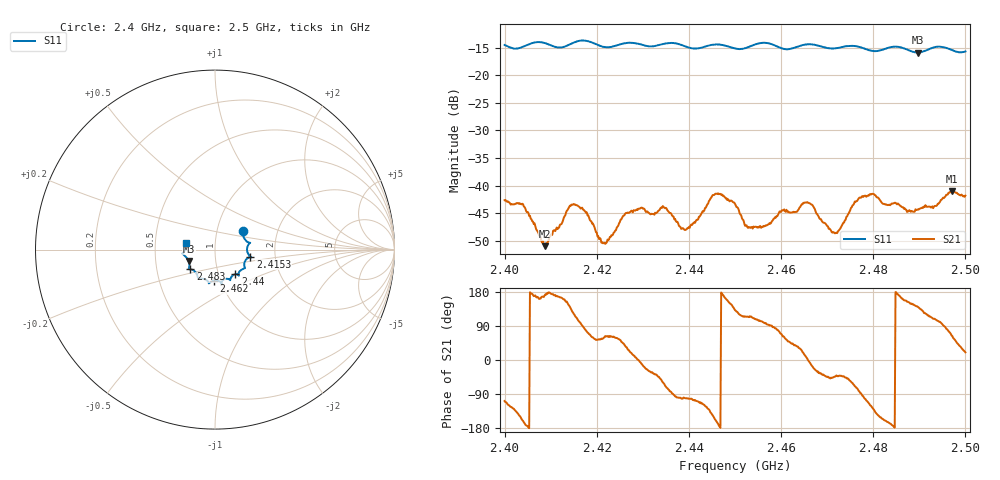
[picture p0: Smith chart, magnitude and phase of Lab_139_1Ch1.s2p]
# Hz S RI R 50
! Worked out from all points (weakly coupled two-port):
!   601 points, 2.4 GHz to 2.5 GHz, reference 50 ohm
!   highest |S21| = -41.03 dB at 2.4972 GHz (marker M1); lowest = -51.0 dB at 2.4087 GHz (marker M2)
!   lowest |S11| = -15.9 dB at 2.4897 GHz (marker M3), VSWR 1.38, Z = 36.9 - j4.82 ohm
!   |S11| at or under -10 dB: start of sweep to end of sweep
!   S12 and S22 are empty: the file has one direction only
!   S11 on the Smith chart (normalised r, x): 2.4 GHz: 1.33, +0.29; 2.4153 GHz: 1.48, -0.12; 2.44 GHz: 1.20, -0.34; 2.462 GHz: 0.93, -0.33; 2.483 GHz: 0.74, -0.17; 2.5 GHz: 0.72, +0.06
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2.4e9  0.1552 0.1063  -0.00231 -0.00699  0 0  0 0
2.404e9  0.1747 0.0478  -0.00639 -0.00225  0 0  0 0
2.408667e9  0.193 0.0356  -0.00278 0.000489  0 0  0 0
2.415333e9  0.1964 -0.0386  -0.00286 0.0061  0 0  0 0
2.416667e9  0.2021 -0.0427  -0.000396 0.00625  0 0  0 0
2.4215e9  0.1711 -0.0585  0.00157 0.00257  0 0  0 0
2.426333e9  0.1675 -0.1013  0.00466 0.00319  0 0  0 0
2.433333e9  0.1312 -0.1333  0.00423 -0.0041  0 0  0 0
2.44e9  0.114 -0.1369  -0.000913 -0.00412  0 0  0 0
2.4455e9  0.0845 -0.17  -0.00732 -0.00373  0 0  0 0
2.45e9  0.0647 -0.1625  -0.00453 0.00511  0 0  0 0
2.453333e9  0.037 -0.1793  -0.00169 0.00378  0 0  0 0
2.462e9  -0.00513 -0.1733  0.00394 0.0041  0 0  0 0
2.466667e9  -0.0344 -0.1875  0.00649 -0.00174  0 0  0 0
2.471667e9  -0.0661 -0.1623  0.00267 -0.00255  0 0  0 0
2.477167e9  -0.0964 -0.1518  0.000431 -0.00775  0 0  0 0
2.48e9  -0.1101 -0.1237  -0.00528 -0.00652  0 0  0 0
2.483e9  -0.1376 -0.1096  -0.0064 -0.00191  0 0  0 0
2.483333e9  -0.1402 -0.1093  -0.00645 -0.00172  0 0  0 0
2.489667e9  -0.1474 -0.0636  -0.00468 0.00389  0 0  0 0
2.497167e9  -0.1686 -0.00533  0.00402 0.00793  0 0  0 0
2.5e9  -0.1598 0.039  0.00761 0.00281  0 0  0 0
